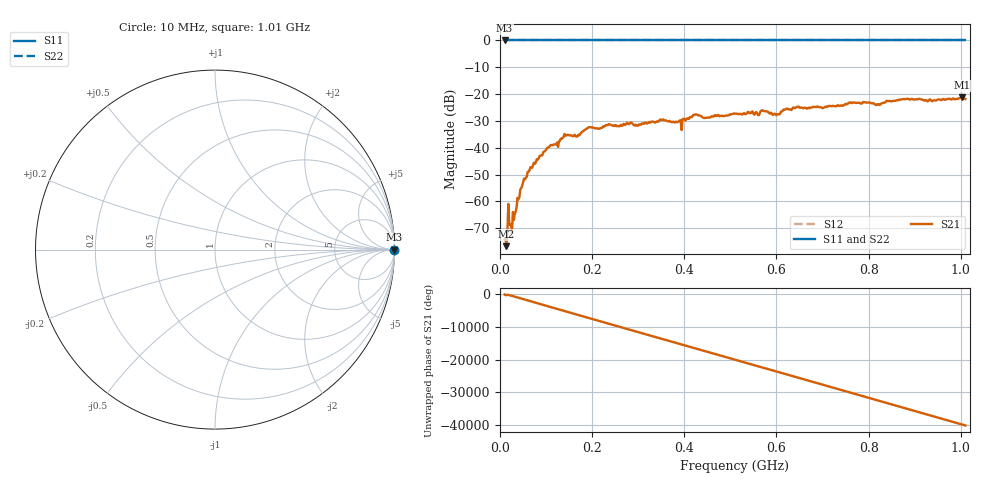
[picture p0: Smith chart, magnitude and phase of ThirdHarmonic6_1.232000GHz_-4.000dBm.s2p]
! 8/16/2025 1:00:45 PM
! C:\ANRITSUVNA\TEMP\TEMP.S2P
! CHANNEL.1
! TR.MEASUREMENT
! RAW.DATA
! RF.CORRECTION.OFF
! AVERAGING.OFF
! IF.BANDWIDTH: 5KHZ
! SWEEPTYPE:  FREQ.SWEEP(Linear)
! Reference Plane Port Info
! PORT:  PORT1  PORT2
! DISTANCE:  0  m  0  m
! TIME:  0  s  0  s
! PHASE.OFFSET:  0  deg.  0  deg.
! LOSS:  0  dB  0  dB
! REF.LOSS:  0  dB  0  dB
! REF.FREQ:  0  Hz  0  Hz
! Power Info
! POWER:  -20  dBm  -20  dBm
! EFF.POWER:  -20  dBm  -20  dBm
! SOURCE.ATTEN:  0  dB  0  dB
! TEST.ATTEN:  0  dB  0  dB
# GHZ S RI R 50.0
! FREQ.GHZ  S11RE  S11IM  S21RE  S21IM  S12RE  S12IM  S22RE  S22IM
!; PortSelection: Port_12
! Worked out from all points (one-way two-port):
!   501 points, 10 MHz to 1.01 GHz, reference 50 ohm
!   highest |S21| = -21.24 dB at 1.002 GHz (marker M1); lowest = -76.7 dB at 14 MHz (marker M2)
!   lowest |S11| = 0.0 dB at 10 MHz (marker M3)
!   |S11| at or under -10 dB: nowhere
!   |S22| runs from 0.0 to 0.0 dB; largest |S21 - S12| = 1.1
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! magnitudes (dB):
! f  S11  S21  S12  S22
! 10 MHz  0.0  -74.2  0.0  0.0
! 14 MHz  0.0  -76.7  0.0  0.0
! 20 MHz  0.0  -68.2  0.0  0.0
! 30 MHz  0.0  -66.9  0.0  0.0
! 48 MHz  0.0  -54.2  0.0  0.0
! 70 MHz  0.0  -47.4  0.0  0.0
! 106 MHz  0.0  -39.8  0.0  0.0
! 136 MHz  0.0  -36.3  0.0  0.0
! 178 MHz  0.0  -34.1  0.0  0.0
! 196 MHz  0.0  -32.3  0.0  0.0
! 344 MHz  0.0  -30.2  0.0  0.0
! 390 MHz  0.0  -29.8  0.0  0.0
! 424 MHz  0.0  -27.6  0.0  0.0
! 446 MHz  0.0  -28.8  0.0  0.0
! 510 MHz  0.0  -27.3  0.0  0.0
! 572 MHz  0.0  -26.3  0.0  0.0
! 602 MHz  0.0  -27.5  0.0  0.0
! 620 MHz  0.0  -25.6  0.0  0.0
! 678 MHz  0.0  -24.9  0.0  0.0
! 844 MHz  0.0  -22.6  0.0  0.0
! 1.002 GHz  0.0  -21.2  0.0  0.0
! 1.01 GHz  0.0  -21.8  0.0  0.0
